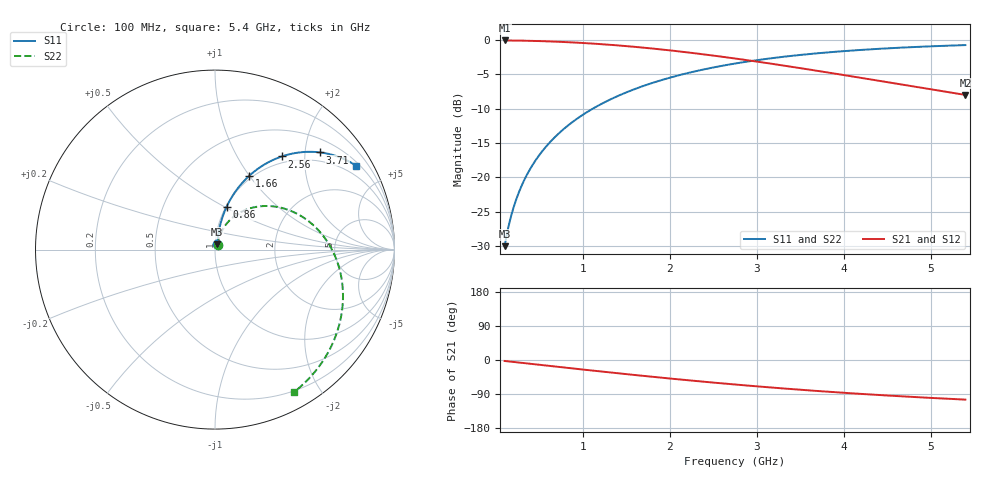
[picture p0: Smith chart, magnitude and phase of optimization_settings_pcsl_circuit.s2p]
! Touchstone file generated by Optenni Lab on 2026-07-15T02:39:49
# Hz S RI R 50
! freq S11(real imag) S21(real imag) S12(real imag) S22(real imag)
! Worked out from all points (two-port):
!   531 points, 100 MHz to 5.4 GHz, reference 50 ohm
!   highest |S21| = -0.11 dB at 100 MHz (marker M1); lowest = -8.0 dB at 5.4 GHz (marker M2)
!   |S21| within 3 dB of the highest: start of sweep to 2.963 GHz
!   lowest |S11| = -30.0 dB at 100 MHz (marker M3), VSWR 1.07, Z = 51.2 + j2.96 ohm
!   |S11| at or under -10 dB: start of sweep to 1.117 GHz
!   |S22| runs from -30.0 to -0.8 dB; largest |S21 - S12| = 0
!   S11 on the Smith chart (normalised r, x): 100 MHz: 1.02, +0.06; 860 MHz: 1.01, +0.51; 1.66 GHz: 0.96, +1.00; 2.56 GHz: 0.89, +1.57; 3.71 GHz: 0.78, +2.33; 5.4 GHz: 0.62, +3.53
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1e8  0.013 0.0288  0.9864 -0.0438  0.9864 -0.0438  0.0141 0.0284
1.7e8  0.0143 0.049  0.9837 -0.0744  0.9837 -0.0744  0.0175 0.0481
2.2e8  0.0158 0.0633  0.981 -0.0961  0.981 -0.0961  0.021 0.0619
2.9e8  0.0183 0.0833  0.9761 -0.1263  0.9761 -0.1263  0.0275 0.081
3.7e8  0.0222 0.1059  0.9688 -0.1604  0.9688 -0.1604  0.0369 0.1021
4.7e8  0.0282 0.1339  0.9573 -0.2023  0.9573 -0.2023  0.0517 0.1271
5.8e8  0.0364 0.1642  0.9417 -0.2472  0.9417 -0.2472  0.0717 0.1527
8.6e8  0.0644 0.238  0.8891 -0.3542  0.8891 -0.3542  0.1376 0.2054
9.9e8  0.0807 0.2703  0.859 -0.3995  0.859 -0.3995  0.1743 0.2227
1.33e9  0.1316 0.3475  0.7665 -0.5024  0.7665 -0.5024  0.2822 0.243
1.66e9  0.1904 0.4108  0.6634 -0.578  0.6634 -0.578  0.393 0.2263
1.87e9  0.2311 0.4446  0.5941 -0.6131  0.5941 -0.6131  0.4611 0.1975
2.19e9  0.2962 0.4859  0.4877 -0.6478  0.4877 -0.6478  0.5542 0.1301
2.56e9  0.3726 0.5191  0.3693 -0.662  0.3693 -0.662  0.6382 0.0243
2.75e9  0.4112 0.5304  0.3124 -0.6601  0.3124 -0.6601  0.6694 -0.0379
3.18e9  0.4945 0.5437  0.1968 -0.6377  0.1968 -0.6377  0.709 -0.1883
3.64e9  0.5748 0.5427  0.096 -0.5943  0.096 -0.5943  0.7065 -0.3493
3.71e9  0.5861 0.5414  0.0828 -0.5866  0.0828 -0.5866  0.7026 -0.3728
4.09e9  0.6429 0.5308  0.0202 -0.5417  0.0202 -0.5417  0.6676 -0.4938
4.52e9  0.6981 0.5132  -0.0336 -0.4883  -0.0336 -0.4883  0.6061 -0.6132
4.96e9  0.7455 0.4915  -0.0729 -0.4346  -0.0729 -0.4346  0.5274 -0.7141
5.4e9  0.7848 0.4682  -0.0997 -0.3842  -0.0997 -0.3842  0.4401 -0.7939
